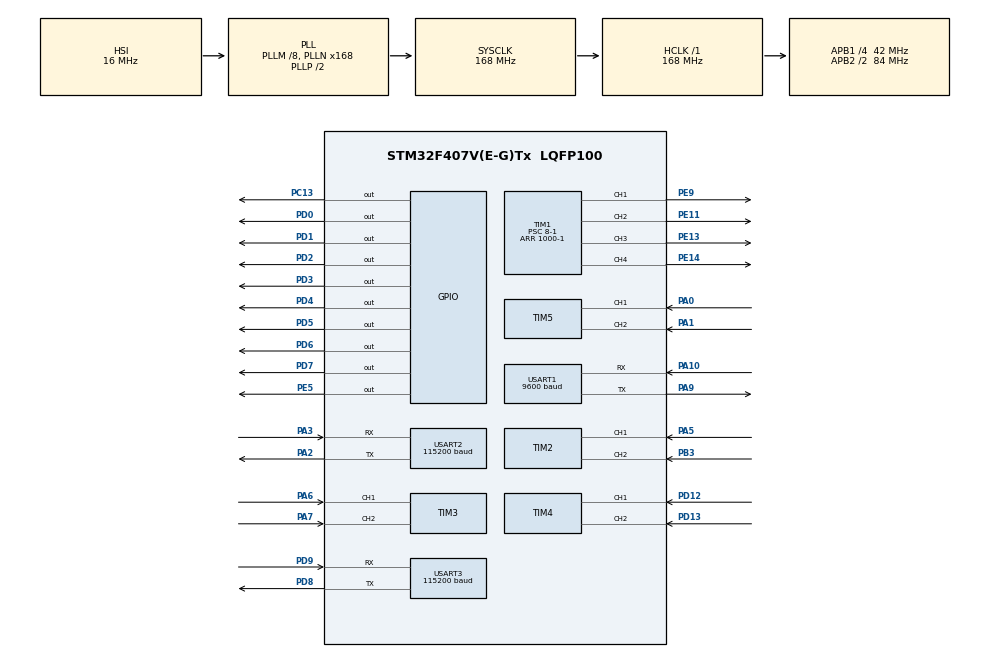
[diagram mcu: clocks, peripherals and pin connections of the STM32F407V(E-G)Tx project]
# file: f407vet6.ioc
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Dma.Request0=USART1_RX
Dma.Request1=USART1_TX
Dma.Request2=USART2_RX
Dma.Request3=USART2_TX
Dma.USART1_RX.0.Direction=DMA_PERIPH_TO_MEMORY
Dma.USART1_RX.0.FIFOMode=DMA_FIFOMODE_DISABLE
Dma.USART1_RX.0.Instance=DMA2_Stream2
Dma.USART1_RX.0.MemDataAlignment=DMA_MDATAALIGN_BYTE
Dma.USART1_RX.0.MemInc=DMA_MINC_ENABLE
Dma.USART1_RX.0.Mode=DMA_CIRCULAR
Dma.USART1_RX.0.PeriphDataAlignment=DMA_PDATAALIGN_BYTE
Dma.USART1_RX.0.PeriphInc=DMA_PINC_DISABLE
Dma.USART1_RX.0.Priority=DMA_PRIORITY_LOW
Dma.USART1_TX.1.Direction=DMA_MEMORY_TO_PERIPH
Dma.USART1_TX.1.FIFOMode=DMA_FIFOMODE_DISABLE
Dma.USART1_TX.1.Instance=DMA2_Stream7
Dma.USART1_TX.1.MemDataAlignment=DMA_MDATAALIGN_BYTE
Dma.USART1_TX.1.MemInc=DMA_MINC_ENABLE
Dma.USART1_TX.1.Mode=DMA_NORMAL
Dma.USART1_TX.1.PeriphDataAlignment=DMA_PDATAALIGN_BYTE
Dma.USART1_TX.1.PeriphInc=DMA_PINC_DISABLE
Dma.USART1_TX.1.Priority=DMA_PRIORITY_LOW
Dma.USART2_RX.2.Direction=DMA_PERIPH_TO_MEMORY
Dma.USART2_RX.2.FIFOMode=DMA_FIFOMODE_DISABLE
Dma.USART2_RX.2.Instance=DMA1_Stream5
Dma.USART2_RX.2.MemDataAlignment=DMA_MDATAALIGN_BYTE
Dma.USART2_RX.2.MemInc=DMA_MINC_ENABLE
Dma.USART2_RX.2.Mode=DMA_CIRCULAR
Dma.USART2_RX.2.PeriphDataAlignment=DMA_PDATAALIGN_BYTE
Dma.USART2_RX.2.PeriphInc=DMA_PINC_DISABLE
Dma.USART2_RX.2.Priority=DMA_PRIORITY_LOW
Dma.USART2_TX.3.Direction=DMA_MEMORY_TO_PERIPH
Dma.USART2_TX.3.FIFOMode=DMA_FIFOMODE_DISABLE
Dma.USART2_TX.3.Instance=DMA1_Stream6
Dma.USART2_TX.3.MemDataAlignment=DMA_MDATAALIGN_BYTE
Dma.USART2_TX.3.MemInc=DMA_MINC_ENABLE
Dma.USART2_TX.3.Mode=DMA_NORMAL
Dma.USART2_TX.3.PeriphDataAlignment=DMA_PDATAALIGN_BYTE
Dma.USART2_TX.3.PeriphInc=DMA_PINC_DISABLE
Dma.USART2_TX.3.Priority=DMA_PRIORITY_LOW
FREERTOS.MEMORY_ALLOCATION=1
FREERTOS.Tasks01=MonitorTask,8,512,RTOS_Monitor_StartTask,As weak,NULL,Static,MonitorTaskStack,MonitorTaskTCB;ControlTask,48,1024,RTOS_Control_StartTask,As weak,NULL,Static,ControlTaskStack,ControlTaskTCB;UARTTask,24,1024,RTOS_UART_StartTask,As weak,NULL,Static,UARTTaskStack,UARTTaskTCB
Mcu.Family=STM32F4
Mcu.Name=STM32F407V(E-G)Tx
Mcu.Package=LQFP100
NVIC.DMA1_Stream5_IRQn=true\:5\:0\:false\:false\:true\:true\:false\:true\:true
NVIC.DMA1_Stream6_IRQn=true\:5\:0\:false\:false\:true\:true\:false\:true\:true
NVIC.DMA2_Stream2_IRQn=true\:5\:0\:false\:false\:true\:true\:false\:true\:true
NVIC.DMA2_Stream7_IRQn=true\:5\:0\:false\:false\:true\:true\:false\:true\:true
NVIC.PriorityGroup=NVIC_PRIORITYGROUP_4
NVIC.TIM7_IRQn=true\:15\:0\:false\:false\:true\:false\:false\:true\:true
NVIC.TimeBase=TIM7_IRQn
NVIC.TimeBaseIP=TIM7
NVIC.USART1_IRQn=true\:5\:0\:false\:false\:true\:true\:true\:true\:true
NVIC.USART3_IRQn=true\:5\:0\:false\:false\:true\:true\:true\:true\:true
PA0-WKUP.Signal=S_TIM5_CH1
PA1.Signal=S_TIM5_CH2
PA10.Mode=Asynchronous
PA10.Signal=USART1_RX
PA13.Mode=Serial_Wire
PA13.Signal=SYS_JTMS-SWDIO
PA14.Mode=Serial_Wire
PA14.Signal=SYS_JTCK-SWCLK
PA2.Mode=Asynchronous
PA2.Signal=USART2_TX
PA3.Mode=Asynchronous
PA3.Signal=USART2_RX
PA5.Signal=S_TIM2_CH1_ETR
PA6.Signal=S_TIM3_CH1
PA7.Signal=S_TIM3_CH2
PA9.Mode=Asynchronous
PA9.Signal=USART1_TX
PB3.Signal=S_TIM2_CH2
PC13-ANTI_TAMP.Signal=GPIO_Output
PD0.Signal=GPIO_Output
PD1.Signal=GPIO_Output
PD12.Signal=S_TIM4_CH1
PD13.Signal=S_TIM4_CH2
PD2.Signal=GPIO_Output
PD3.Signal=GPIO_Output
PD4.Signal=GPIO_Output
PD5.Signal=GPIO_Output
PD6.Signal=GPIO_Output
PD7.Signal=GPIO_Output
PD8.Mode=Asynchronous
PD8.Signal=USART3_TX
PD9.Mode=Asynchronous
PD9.Signal=USART3_RX
PE11.Signal=S_TIM1_CH2
PE13.Signal=S_TIM1_CH3
PE14.Signal=S_TIM1_CH4
PE5.Signal=GPIO_Output
PE9.Signal=S_TIM1_CH1
PH0-OSC_IN.Mode=HSE-External-Oscillator
PH0-OSC_IN.Signal=RCC_OSC_IN
PH1-OSC_OUT.Mode=HSE-External-Oscillator
PH1-OSC_OUT.Signal=RCC_OSC_OUT
ProjectManager.HeapSize=0x200
ProjectManager.StackSize=0x400
ProjectManager.TargetToolchain=CMake
RCC.48MHZClocksFreq_Value=84000000
RCC.AHBFreq_Value=168000000
RCC.APB1CLKDivider=RCC_HCLK_DIV4
RCC.APB1Freq_Value=42000000
RCC.APB1TimFreq_Value=84000000
RCC.APB2CLKDivider=RCC_HCLK_DIV2
RCC.APB2Freq_Value=84000000
RCC.APB2TimFreq_Value=168000000
RCC.CortexFreq_Value=168000000
RCC.HCLKFreq_Value=168000000
RCC.HSE_VALUE=25000000
RCC.HSI_VALUE=16000000
RCC.LSE_VALUE=32768
RCC.PLLM=8
RCC.PLLN=168
RCC.SYSCLKFreq_VALUE=168000000
RCC.SYSCLKSource=RCC_SYSCLKSOURCE_PLLCLK
RCC.VCOOutputFreq_Value=336000000
SH.S_TIM1_CH1.0=TIM1_CH1,PWM Generation1 CH1
SH.S_TIM1_CH2.0=TIM1_CH2,PWM Generation2 CH2
SH.S_TIM1_CH3.0=TIM1_CH3,PWM Generation3 CH3
SH.S_TIM1_CH4.0=TIM1_CH4,PWM Generation4 CH4
SH.S_TIM2_CH1_ETR.0=TIM2_CH1,Encoder_Interface
SH.S_TIM2_CH2.0=TIM2_CH2,Encoder_Interface
SH.S_TIM3_CH1.0=TIM3_CH1,Encoder_Interface
SH.S_TIM3_CH2.0=TIM3_CH2,Encoder_Interface
SH.S_TIM4_CH1.0=TIM4_CH1,Encoder_Interface
SH.S_TIM4_CH2.0=TIM4_CH2,Encoder_Interface
SH.S_TIM5_CH1.0=TIM5_CH1,Encoder_Interface
SH.S_TIM5_CH2.0=TIM5_CH2,Encoder_Interface
TIM1.Channel-PWM\ Generation1\ CH1=TIM_CHANNEL_1
TIM1.Channel-PWM\ Generation2\ CH2=TIM_CHANNEL_2
TIM1.Channel-PWM\ Generation3\ CH3=TIM_CHANNEL_3
TIM1.Channel-PWM\ Generation4\ CH4=TIM_CHANNEL_4
TIM1.Period=1000-1
TIM1.Prescaler=8-1
TIM2.EncoderMode=TIM_ENCODERMODE_TI12
TIM2.IC1Filter=15
TIM2.IC2Filter=15
TIM3.EncoderMode=TIM_ENCODERMODE_TI12
TIM3.IC1Filter=15
TIM3.IC2Filter=15
TIM4.EncoderMode=TIM_ENCODERMODE_TI12
TIM4.IC1Filter=15
TIM4.IC2Filter=15
TIM5.EncoderMode=TIM_ENCODERMODE_TI12
TIM5.IC1Filter=15
TIM5.IC2Filter=15
USART1.BaudRate=9600
USART1.VirtualMode=VM_ASYNC
USART2.BaudRate=115200
USART2.VirtualMode=VM_ASYNC
USART3.BaudRate=115200
USART3.VirtualMode=VM_ASYNC
VP_FREERTOS_VS_CMSIS_V2.Mode=CMSIS_V2
VP_SYS_VS_tim7.Mode=TIM7
VP_TIM1_VS_ClockSourceINT.Mode=Internal
board=custom

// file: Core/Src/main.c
/* USER CODE BEGIN Header */
/**
  ******************************************************************************
  * @file           : main.c
  * @brief          : Main program body
  ******************************************************************************
  * @attention
  *
  * Copyright (c) 2026 STMicroelectronics.
  * All rights reserved.
  *
  * This software is licensed under terms that can be found in the LICENSE file
  * in the root directory of this software component.
  * If no LICENSE file comes with this software, it is provided AS-IS.
  *
  ******************************************************************************
  */
/* USER CODE END Header */
#include "main.h"
#include "cmsis_os.h"
#include "dma.h"
#include "tim.h"
#include "usart.h"
#include "gpio.h"

/* USER CODE BEGIN Includes */
#include "app_car.h"
#include "app_car_dependencies.h"
#include "core_board.h"
#include "crc.h"
#include "rng.h"
#include "system_delay.h"
#include "system_log.h"
#if defined(SYS_LOG_USE_RTT)
#include "system_log_rtt.h"
#endif
/* USER CODE END Includes */

/* USER CODE BEGIN PV */
static app_car_dependencies_t s_app_dependencies;
#if defined(SYS_LOG_USE_RTT)
static system_log_rtt_t s_log_rtt;
#endif

/* USER CODE END PV */

void SystemClock_Config(void);
void MX_FREERTOS_Init(void);

int main(void)
{

  /* MCU Configuration--------------------------------------------------------*/

  /* Reset of all peripherals, Initializes the Flash interface and the Systick. */
  HAL_Init();

  /* Configure the system clock */
  SystemClock_Config();

  /* Initialize all configured peripherals */
  MX_GPIO_Init();
  MX_DMA_Init();
  MX_TIM1_Init();
  MX_USART1_UART_Init();
  MX_TIM2_Init();
  MX_TIM3_Init();
  MX_TIM4_Init();
  MX_TIM5_Init();
  MX_USART2_UART_Init();
  MX_USART3_UART_Init();
  /* USER CODE BEGIN 2 */
  MX_CRC_Init();
  MX_RNG_Init();
  Sys_Delay_Init();
#if defined(SYS_LOG_USE_RTT)
  Sys_Log_RTT_Init(&s_log_rtt, "rtt", 0u);
  Sys_Log_Init(&s_log_rtt.base);
  Sys_Log_SetLevel(SYS_LOG_LEVEL_INFO);
  SYS_LOG_INFO("BOOT", "RTT log initialized");
#endif
  platform_status_t board_status = Core_Board_Init(&s_app_dependencies);
  if (board_status != PLATFORM_STATUS_OK)
  {
    SYS_LOG_ERROR(
      "BOOT",
      "board initialization failed: %u",
      (unsigned int)board_status
    );
    Error_Handler();
  }

  if (!App_Car_Init(&s_app_dependencies))
  {
    SYS_LOG_ERROR("BOOT", "app initialization failed");
    Error_Handler();
  }
  /* USER CODE END 2 */

  /* Init scheduler */
  osKernelInitialize();  /* Call init function for freertos objects (in cmsis_os2.c) */
  MX_FREERTOS_Init();

  /* Start scheduler */
  osKernelStart();

  /* We should never get here as control is now taken by the scheduler */

  /* Infinite loop */
  while (1)
  {

  }
}

void SystemClock_Config(void)
{
  RCC_OscInitTypeDef RCC_OscInitStruct = {0};
  RCC_ClkInitTypeDef RCC_ClkInitStruct = {0};

  /** Configure the main internal regulator output voltage
  */
  __HAL_RCC_PWR_CLK_ENABLE();
  __HAL_PWR_VOLTAGESCALING_CONFIG(PWR_REGULATOR_VOLTAGE_SCALE1);

  /** Initializes the RCC Oscillators according to the specified parameters
  * in the RCC_OscInitTypeDef structure.
  */
  RCC_OscInitStruct.OscillatorType = RCC_OSCILLATORTYPE_HSI;
  RCC_OscInitStruct.HSIState = RCC_HSI_ON;
  RCC_OscInitStruct.HSICalibrationValue = RCC_HSICALIBRATION_DEFAULT;
  RCC_OscInitStruct.PLL.PLLState = RCC_PLL_ON;
  RCC_OscInitStruct.PLL.PLLSource = RCC_PLLSOURCE_HSI;
  RCC_OscInitStruct.PLL.PLLM = 8;
  RCC_OscInitStruct.PLL.PLLN = 168;
  RCC_OscInitStruct.PLL.PLLP = RCC_PLLP_DIV2;
  RCC_OscInitStruct.PLL.PLLQ = 4;
  if (HAL_RCC_OscConfig(&RCC_OscInitStruct) != HAL_OK)
  {
    Error_Handler();
  }

  /** Initializes the CPU, AHB and APB buses clocks
  */
  RCC_ClkInitStruct.ClockType = RCC_CLOCKTYPE_HCLK|RCC_CLOCKTYPE_SYSCLK
                              |RCC_CLOCKTYPE_PCLK1|RCC_CLOCKTYPE_PCLK2;
  RCC_ClkInitStruct.SYSCLKSource = RCC_SYSCLKSOURCE_PLLCLK;
  RCC_ClkInitStruct.AHBCLKDivider = RCC_SYSCLK_DIV1;
  RCC_ClkInitStruct.APB1CLKDivider = RCC_HCLK_DIV4;
  RCC_ClkInitStruct.APB2CLKDivider = RCC_HCLK_DIV2;

  if (HAL_RCC_ClockConfig(&RCC_ClkInitStruct, FLASH_LATENCY_5) != HAL_OK)
  {
    Error_Handler();
  }
}

void HAL_TIM_PeriodElapsedCallback(TIM_HandleTypeDef *htim)
{
  if (htim->Instance == TIM7)
  {
    HAL_IncTick();
  }
}

void Error_Handler(void)
{
  __disable_irq();
  while (1)
  {
  }
}

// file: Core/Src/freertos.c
/* USER CODE BEGIN Header */
/**
  ******************************************************************************
  * File Name          : freertos.c
  * Description        : Code for freertos applications
  ******************************************************************************
  * @attention
  *
  * Copyright (c) 2026 STMicroelectronics.
  * All rights reserved.
  *
  * This software is licensed under terms that can be found in the LICENSE file
  * in the root directory of this software component.
  * If no LICENSE file comes with this software, it is provided AS-IS.
  *
  ******************************************************************************
  */
/* USER CODE END Header */

#include "FreeRTOS.h"
#include "task.h"
#include "main.h"
#include "cmsis_os.h"

typedef StaticTask_t osStaticThreadDef_t;

/* Definitions for MonitorTask */
osThreadId_t MonitorTaskHandle;
uint32_t MonitorTaskStack[ 512 ];
osStaticThreadDef_t MonitorTaskTCB;
const osThreadAttr_t MonitorTask_attributes = {
  .name = "MonitorTask",
  .cb_mem = &MonitorTaskTCB,
  .cb_size = sizeof(MonitorTaskTCB),
  .stack_mem = &MonitorTaskStack[0],
  .stack_size = sizeof(MonitorTaskStack),
  .priority = (osPriority_t) osPriorityLow,
};
/* Definitions for ControlTask */
osThreadId_t ControlTaskHandle;
uint32_t ControlTaskStack[ 1024 ];
osStaticThreadDef_t ControlTaskTCB;
const osThreadAttr_t ControlTask_attributes = {
  .name = "ControlTask",
  .cb_mem = &ControlTaskTCB,
  .cb_size = sizeof(ControlTaskTCB),
  .stack_mem = &ControlTaskStack[0],
  .stack_size = sizeof(ControlTaskStack),
  .priority = (osPriority_t) osPriorityRealtime,
};
/* Definitions for UARTTask */
osThreadId_t UARTTaskHandle;
uint32_t UARTTaskStack[ 1024 ];
osStaticThreadDef_t UARTTaskTCB;
const osThreadAttr_t UARTTask_attributes = {
  .name = "UARTTask",
  .cb_mem = &UARTTaskTCB,
  .cb_size = sizeof(UARTTaskTCB),
  .stack_mem = &UARTTaskStack[0],
  .stack_size = sizeof(UARTTaskStack),
  .priority = (osPriority_t) osPriorityNormal,
};

void RTOS_Monitor_StartTask(void *argument);
void RTOS_Control_StartTask(void *argument);
void RTOS_UART_StartTask(void *argument);

void MX_FREERTOS_Init(void); /* (MISRA C 2004 rule 8.1) */

void MX_FREERTOS_Init(void) {

  /* Create the thread(s) */
  /* creation of MonitorTask */
  MonitorTaskHandle = osThreadNew(RTOS_Monitor_StartTask, NULL, &MonitorTask_attributes);

  /* creation of ControlTask */
  ControlTaskHandle = osThreadNew(RTOS_Control_StartTask, NULL, &ControlTask_attributes);

  /* creation of UARTTask */
  UARTTaskHandle = osThreadNew(RTOS_UART_StartTask, NULL, &UARTTask_attributes);

  /* USER CODE BEGIN RTOS_THREADS */
  if (
    MonitorTaskHandle == NULL ||
    ControlTaskHandle == NULL ||
    UARTTaskHandle == NULL
  ) {
    Error_Handler();
  }
  /* USER CODE END RTOS_THREADS */

}

/* USER CODE BEGIN Header_RTOS_Monitor_StartTask */
/**
* @brief 监控任务弱默认实现。
* @see RTOS_Monitor_StartTask
*/
/* USER CODE END Header_RTOS_Monitor_StartTask */
__weak void RTOS_Monitor_StartTask(void *argument)
{
  /* USER CODE BEGIN RTOS_Monitor_StartTask */
  (void)argument;
  /* Infinite loop */
  for(;;)
  {
    osDelay(1);
  }
  /* USER CODE END RTOS_Monitor_StartTask */
}

/* USER CODE BEGIN Header_RTOS_Control_StartTask */
/**
* @brief 控制任务弱默认实现。
* @see RTOS_Control_StartTask
*/
/* USER CODE END Header_RTOS_Control_StartTask */
__weak void RTOS_Control_StartTask(void *argument)
{
  /* USER CODE BEGIN RTOS_Control_StartTask */
  (void)argument;
  /* Infinite loop */
  for(;;)
  {
    osDelay(1);
  }
  /* USER CODE END RTOS_Control_StartTask */
}

/* USER CODE BEGIN Header_RTOS_UART_StartTask */
/**
* @brief UART 任务弱默认实现。
* @see RTOS_UART_StartTask
*/
/* USER CODE END Header_RTOS_UART_StartTask */
__weak void RTOS_UART_StartTask(void *argument)
{
  /* USER CODE BEGIN RTOS_UART_StartTask */
  (void)argument;
  /* Infinite loop */
  for(;;)
  {
    osDelay(1);
  }
  /* USER CODE END RTOS_UART_StartTask */
}
